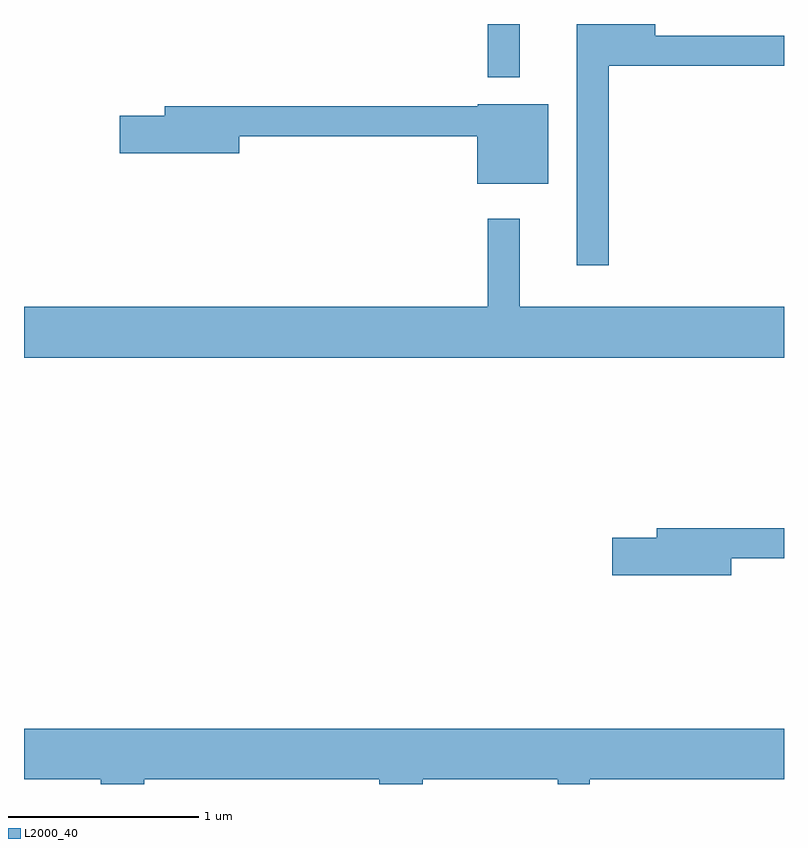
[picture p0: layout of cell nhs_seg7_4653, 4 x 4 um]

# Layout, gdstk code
import gdstk
lib = gdstk.Library(unit=1e-6, precision=1e-09)
def R(c, l, rs):  # rectangles x0, y0, x1, y1
    for r in rs: c.add(gdstk.rectangle(r[:2], r[2:], *l))
def P(c, l, *ps):  # polygons
    for p in ps: c.add(gdstk.Polygon(p, *l))
L2000_40 = (2000, 40)

nhs_seg7_4653 = lib.new_cell('nhs_seg7_4653')
R(nhs_seg7_4653, L2000_40, [(330.051,1757.973,330.219,1758.252)])
P(nhs_seg7_4653, L2000_40, [(330.689,1758.031),(331.611,1758.031),(331.611,1758.189),(330.934,1758.189),(330.934,1758.252),(330.521,1758.252),(330.521,1756.983),(330.689,1756.983)],
  [(330.369,1757.829),(330,1757.829),(330,1757.819),(328.351,1757.819),(328.351,1757.769),(328.116,1757.769),(328.116,1757.571),(328.744,1757.571),(328.744,1757.661),(329.996,1757.661),(329.996,1757.411),(330.369,1757.411)],
  [(331.611,1756.764),(330.219,1756.764),(330.219,1757.228),(330.051,1757.228),(330.051,1756.764),(327.611,1756.764),(327.611,1756.496),(331.611,1756.496)],
  [(331.334,1755.441),(331.611,1755.441),(331.611,1755.599),(330.941,1755.599),(330.941,1755.549),(330.706,1755.549),(330.706,1755.351),(331.334,1755.351)],
  [(328.244,1754.276),(329.481,1754.276),(329.481,1754.252),(329.709,1754.252),(329.709,1754.276),(330.421,1754.276),(330.421,1754.252),(330.589,1754.252),(330.589,1754.276),(331.611,1754.276),(331.611,1754.544),(327.611,1754.544),(327.611,1754.276),(328.016,1754.276),(328.016,1754.252),(328.244,1754.252)])

lib.write_gds('nhs_seg7_4653.gds')
